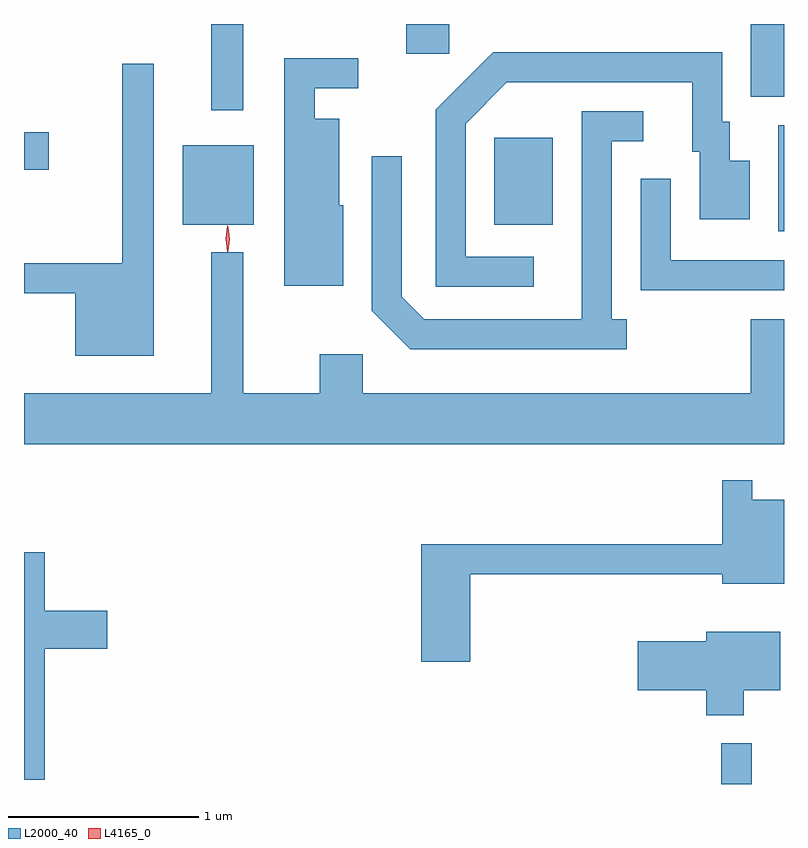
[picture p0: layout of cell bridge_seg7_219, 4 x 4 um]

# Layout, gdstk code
import gdstk
lib = gdstk.Library(unit=1e-6, precision=1e-09)
def R(c, l, rs):  # rectangles x0, y0, x1, y1
    for r in rs: c.add(gdstk.rectangle(r[:2], r[2:], *l))
def P(c, l, *ps):  # polygons
    for p in ps: c.add(gdstk.Polygon(p, *l))
L2000_40 = (2000, 40)
L4165_0 = (4165, 0)

bridge_seg7_219 = lib.new_cell('bridge_seg7_219')
R(bridge_seg7_219, L2000_40, [(1751.606,1708.088,1751.764,1708.303), (1751.906,1710.996,1751.935,1711.554), (1748.771,1711.031,1749.144,1711.449), (1750.411,1711.031,1750.719,1711.489), (1747.935,1711.321,1748.064,1711.519), (1748.921,1711.633,1749.089,1712.088), (1751.761,1711.706,1751.935,1712.088), (1749.946,1711.931,1750.174,1712.088)])
P(bridge_seg7_219, L2000_40, [(1750.618,1710.864),(1750.259,1710.864),(1750.259,1711.564),(1750.477,1711.781),(1751.451,1711.781),(1751.451,1711.416),(1751.491,1711.416),(1751.491,1711.061),(1751.754,1711.061),(1751.754,1711.369),(1751.649,1711.369),(1751.649,1711.574),(1751.609,1711.574),(1751.609,1711.939),(1750.404,1711.939),(1750.101,1711.637),(1750.101,1710.706),(1750.618,1710.706)],
  [(1749.614,1711.134),(1749.594,1711.134),(1749.594,1711.589),(1749.464,1711.589),(1749.464,1711.751),(1749.693,1711.751),(1749.693,1711.909),(1749.306,1711.909),(1749.306,1710.711),(1749.614,1710.711)],
  [(1748.619,1711.878),(1748.451,1711.878),(1748.451,1710.829),(1747.935,1710.829),(1747.935,1710.671),(1748.206,1710.671),(1748.206,1710.341),(1748.619,1710.341)],
  [(1751.108,1710.534),(1751.029,1710.534),(1751.029,1711.471),(1751.193,1711.471),(1751.193,1711.629),(1750.871,1711.629),(1750.871,1710.534),(1750.042,1710.534),(1749.924,1710.652),(1749.924,1711.393),(1749.766,1711.393),(1749.766,1710.579),(1749.969,1710.376),(1751.108,1710.376)],
  [(1751.935,1710.844),(1751.339,1710.844),(1751.339,1711.273),(1751.181,1711.273),(1751.181,1710.686),(1751.935,1710.686)],
  [(1751.935,1710.534),(1751.761,1710.534),(1751.761,1710.144),(1749.719,1710.144),(1749.719,1710.349),(1749.491,1710.349),(1749.491,1710.144),(1749.089,1710.144),(1749.089,1710.888),(1748.921,1710.888),(1748.921,1710.144),(1747.935,1710.144),(1747.935,1709.876),(1751.935,1709.876)],
  [(1750.284,1709.191),(1751.611,1709.191),(1751.611,1709.141),(1751.935,1709.141),(1751.935,1709.584),(1751.769,1709.584),(1751.769,1709.688),(1751.611,1709.688),(1751.611,1709.349),(1750.026,1709.349),(1750.026,1708.731),(1750.284,1708.731)],
  [(1748.044,1708.801),(1748.374,1708.801),(1748.374,1708.999),(1748.044,1708.999),(1748.044,1709.309),(1747.935,1709.309),(1747.935,1708.111),(1748.044,1708.111)],
  [(1751.724,1708.581),(1751.914,1708.581),(1751.914,1708.889),(1751.526,1708.889),(1751.526,1708.839),(1751.166,1708.839),(1751.166,1708.581),(1751.526,1708.581),(1751.526,1708.451),(1751.724,1708.451)])
P(bridge_seg7_219, L4165_0, [(1749.007,1710.889),(1749.006,1710.89),(1748.997,1710.958),(1749.006,1711.026),(1749.007,1711.026),(1749.007,1711.026),(1749.017,1710.958),(1749.007,1710.89)],
  [(1749.009,1710.892),(1749.009,1710.893),(1748.999,1710.957),(1749.009,1711.021),(1749.009,1711.022),(1749.01,1711.021),(1749.019,1710.957),(1749.01,1710.893)])

lib.write_gds('bridge_seg7_219.gds')
